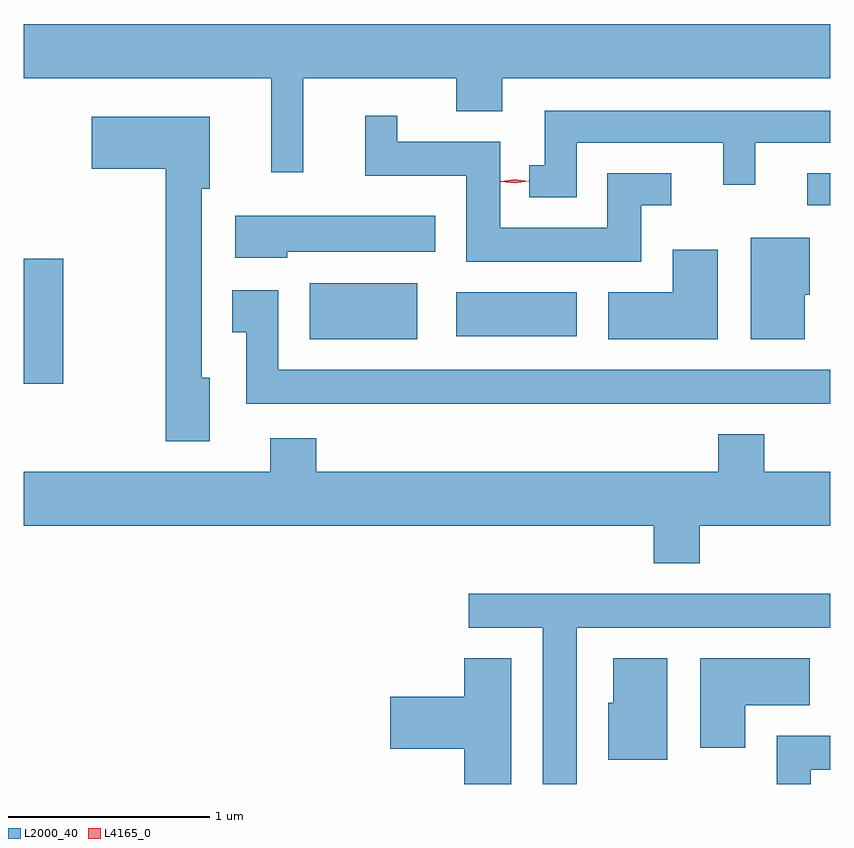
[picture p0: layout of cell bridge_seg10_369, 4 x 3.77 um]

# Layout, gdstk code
import gdstk
lib = gdstk.Library(unit=1e-6, precision=1e-09)
def R(c, l, rs):  # rectangles x0, y0, x1, y1
    for r in rs: c.add(gdstk.rectangle(r[:2], r[2:], *l))
def P(c, l, *ps):  # polygons
    for p in ps: c.add(gdstk.Polygon(p, *l))
L2000_40 = (2000, 40)
L4165_0 = (4165, 0)

bridge_seg10_369 = lib.new_cell('bridge_seg10_369')
R(bridge_seg10_369, L2000_40, [(1064.107,2090.201,1064.304,2090.819), (1065.526,2090.421,1066.059,2090.699), (1066.251,2090.436,1066.849,2090.654), (1067.993,2091.086,1068.107,2091.244)])
P(bridge_seg10_369, L2000_40, [(1065.494,2091.716),(1066.251,2091.716),(1066.251,2091.551),(1066.479,2091.551),(1066.479,2091.716),(1068.107,2091.716),(1068.107,2091.984),(1064.107,2091.984),(1064.107,2091.716),(1065.336,2091.716),(1065.336,2091.248),(1065.494,2091.248)],
  [(1066.849,2091.396),(1067.576,2091.396),(1067.576,2091.188),(1067.734,2091.188),(1067.734,2091.396),(1068.107,2091.396),(1068.107,2091.554),(1066.691,2091.554),(1066.691,2091.284),(1066.613,2091.284),(1066.613,2091.126),(1066.849,2091.126)],
  [(1067.169,2091.086),(1067.318,2091.086),(1067.318,2091.244),(1067.001,2091.244),(1067.001,2090.974),(1066.469,2090.974),(1066.469,2091.399),(1065.959,2091.399),(1065.959,2091.528),(1065.801,2091.528),(1065.801,2091.231),(1066.301,2091.231),(1066.301,2090.806),(1067.169,2090.806)],
  [(1065.029,2090.229),(1064.989,2090.229),(1064.989,2091.166),(1065.029,2091.166),(1065.029,2091.524),(1064.446,2091.524),(1064.446,2091.266),(1064.811,2091.266),(1064.811,2089.916),(1065.029,2089.916)],
  [(1065.414,2090.856),(1066.149,2090.856),(1066.149,2091.034),(1065.156,2091.034),(1065.156,2090.826),(1065.414,2090.826)],
  [(1067.979,2090.641),(1068.004,2090.641),(1068.004,2090.924),(1067.711,2090.924),(1067.711,2090.421),(1067.979,2090.421)],
  [(1067.549,2090.864),(1067.326,2090.864),(1067.326,2090.654),(1067.006,2090.654),(1067.006,2090.421),(1067.549,2090.421)],
  [(1068.107,2090.269),(1065.369,2090.269),(1065.369,2090.664),(1065.141,2090.664),(1065.141,2090.456),(1065.211,2090.456),(1065.211,2090.101),(1068.107,2090.101)],
  [(1067.459,2089.496),(1068.107,2089.496),(1068.107,2089.764),(1067.779,2089.764),(1067.779,2089.949),(1067.551,2089.949),(1067.551,2089.764),(1065.559,2089.764),(1065.559,2089.929),(1065.331,2089.929),(1065.331,2089.764),(1064.107,2089.764),(1064.107,2089.496),(1067.231,2089.496),(1067.231,2089.311),(1067.459,2089.311)],
  [(1066.849,2088.991),(1068.107,2088.991),(1068.107,2089.159),(1066.313,2089.159),(1066.313,2088.991),(1066.681,2088.991),(1066.681,2088.216),(1066.849,2088.216)],
  [(1067.299,2088.839),(1067.031,2088.839),(1067.031,2088.619),(1067.006,2088.619),(1067.006,2088.336),(1067.299,2088.336)],
  [(1066.524,2088.839),(1066.291,2088.839),(1066.291,2088.649),(1065.926,2088.649),(1065.926,2088.391),(1066.291,2088.391),(1066.291,2088.216),(1066.524,2088.216)],
  [(1067.684,2088.606),(1068.004,2088.606),(1068.004,2088.839),(1067.461,2088.839),(1067.461,2088.396),(1067.684,2088.396)],
  [(1068.009,2088.286),(1068.107,2088.286),(1068.107,2088.454),(1067.841,2088.454),(1067.841,2088.216),(1068.009,2088.216)])
P(bridge_seg10_369, L4165_0, [(1066.542,2091.194),(1066.472,2091.203),(1066.472,2091.204),(1066.472,2091.204),(1066.542,2091.214),(1066.611,2091.205),(1066.611,2091.205),(1066.611,2091.204)])

lib.write_gds('bridge_seg10_369.gds')
